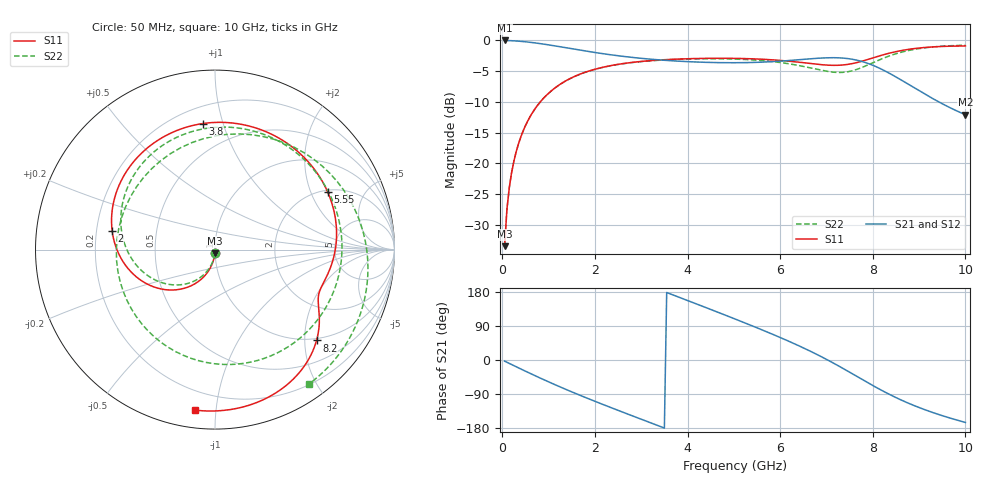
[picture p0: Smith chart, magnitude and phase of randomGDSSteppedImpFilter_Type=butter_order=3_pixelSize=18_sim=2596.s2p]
! freq	dB(S11)	phase(S11)	dB(S12)	phase(S12)
!  dB(S21)	phase(S21)	dB(S22)	phase(S22)
!S-par simulation data
#  GHz  S  DB  R 50
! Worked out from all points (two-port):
!   200 points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, 50 MHz to 10 GHz, reference 50 ohm
!   highest |S21| = -0.01 dB at 50 MHz (marker M1); lowest = -12.1 dB at 10 GHz (marker M2)
!   |S21| within 3 dB of the highest: start of sweep to 3.134 GHz; 6.619 GHz to 7.512 GHz (893.1 MHz wide, 12.6 % of centre)
!   lowest |S11| = -33.4 dB at 50 MHz (marker M3), VSWR 1.04, Z = 49.9 - j2.12 ohm
!   |S11| at or under -10 dB: start of sweep to 820.1 MHz
!   |S22| runs from -33.4 to -0.8 dB; largest |S21 - S12| = 0
!   S11 on the Smith chart (normalised r, x): 50 MHz: 1.00, -0.04; 2 GHz: 0.27, +0.09; 3.8 GHz: 0.31, +0.86; 5.55 GHz: 2.09, +2.66; 8.2 GHz: 0.95, -2.28; 10 GHz: 0.09, -0.88
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0.05  -33.44 -92.7  -0.01 -3.0  -0.01 -3.0  -33.44 -93.1
0.1  -27.47 -95.7  -0.02 -6.0  -0.02 -6.0  -27.47 -96.6
0.2  -21.53 -101.5  -0.05 -12.0  -0.05 -12.0  -21.54 -103.2
0.5  -13.85 -117.9  -0.22 -29.5  -0.22 -29.5  -13.86 -122.2
1.1  -7.94 -148.9  -0.85 -63.1  -0.85 -63.1  -7.95 -158.6
1.75  -5.28 -179.5  -1.67 -96.7  -1.67 -96.7  -5.29 164.8
2  -4.69 169.5  -1.97 -109.0  -1.97 -109.0  -4.70 151.2
2.75  -3.62 137.9  -2.72 -144.6  -2.72 -144.6  -3.65 111.5
3.4  -3.18 111.6  -3.17 -174.9  -3.17 -174.9  -3.21 77.5
3.8  -3.03 95.6  -3.37 166.4  -3.37 166.4  -3.07 56.5
4.45  -2.91 69.7  -3.58 135.8  -3.58 135.8  -2.98 21.8
5.05  -2.92 46.1  -3.63 107.1  -3.63 107.1  -3.04 -11.2
5.55  -3.04 27.0  -3.55 82.5  -3.55 82.5  -3.24 -40.3
6.15  -3.35 5.6  -3.29 51.5  -3.29 51.5  -3.75 -79.6
6.7  -3.80 -11.0  -2.96 20.3  -2.96 20.3  -4.55 -124.8
7.1  -4.04 -19.9  -2.81 -4.8  -2.81 -4.8  -5.12 -167.4
7.4  -3.96 -24.8  -2.90 -25.2  -2.90 -25.2  -5.16 154.6
7.8  -3.31 -31.8  -3.50 -53.4  -3.50 -53.4  -4.30 102.2
8.2  -2.39 -41.8  -4.72 -80.6  -4.72 -80.6  -2.98 56.8
8.35  -2.09 -46.3  -5.31 -90.1  -5.31 -90.1  -2.54 42.3
9  -1.24 -67.1  -8.17 -125.4  -8.17 -125.4  -1.33 -6.7
10  -0.90 -97.2  -12.07 -164.8  -12.07 -164.8  -0.78 -55.1
